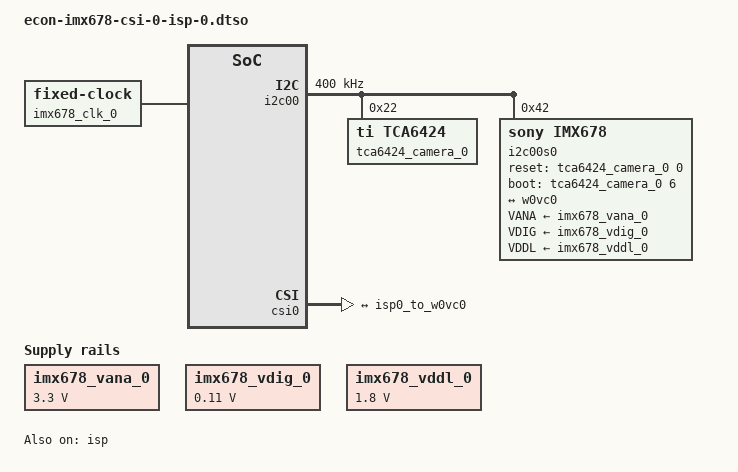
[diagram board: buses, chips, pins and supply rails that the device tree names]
// SPDX-License-Identifier: (GPL-2.0+ OR MIT)
/*
 * Copyright (c) 2024 SiMa ai
 */

/dts-v1/;
/plugin/;

/ {
	fragment@10 {
		target-path = "/"; /* Root node of the base tree */
		__overlay__ {
			imx678_vana_0: csi0_fixedregulator@0 {
				compatible = "regulator-fixed";
				regulator-name = "imx678_vana_0";
				regulator-min-microvolt = <3300000>;
				regulator-max-microvolt = <3300000>;
				enable-active-high;
				startup-delay-us = <300000>;
				regulator-always-on;
			};
			imx678_vdig_0: csi0_fixedregulator@1 {
				compatible = "regulator-fixed";
				regulator-name = "imx678_vdig_0";
				regulator-min-microvolt = <110000>;
				regulator-max-microvolt = <110000>;
				regulator-always-on;
			};
			imx678_vddl_0: csi0_fixedregulator@2 {
				compatible = "regulator-fixed";
				regulator-name = "imx678_vddl_0";
				regulator-min-microvolt = <1800000>;
				regulator-max-microvolt = <1800000>;
				regulator-always-on;
			};
			imx678_clk_0: csi0_camera-clk {
				compatible = "fixed-clock";
				#clock-cells = <0>;
				clock-frequency = <24000000>;
			};
		};
	};
};

&i2c00 {
	status = "okay";
	clock-frequency = <400000>;
	#address-cells = <1>;
	#size-cells = <0>;
	tca6424_camera_0: tca6424@22 {
		compatible = "ti,tca6424";
		gpio-controller;
		#gpio-cells = <2>;
		reg = <0x22>;
		status = "okay";
	};
	i2c00s0: sensor@42 {
		compatible = "sony,imx678";
		reg = <0x42>;
		clocks = <&imx678_clk_0>;
		clock-names = "xclk";
		VANA-supply = <&imx678_vana_0>;
		VDIG-supply = <&imx678_vdig_0>;
		VDDL-supply = <&imx678_vddl_0>;
		reset-gpios = <&tca6424_camera_0 0 0>;
		boot-gpios = <&tca6424_camera_0 6 0>;
		camera_mipi_lanes = <4>;
		cam_fw_name = "imx678_cam_fw.bin";
		i2c00p0: port@1 {
			camera_0: endpoint@0 {
				remote-endpoint = <&w0vc0>;
				data-lanes = <1 2 3 4>;
				clock-lanes = <0>;
				clock-continuous;
				link-frequencies = /bits/ 64 <450000000>;
			};
		};
	};
};

&mipi_dphy_rx0 {
	snps,dphy-frequency = <450000000>;
};

&axi_vdma_vis0 {
	status = "okay";
};

&csi0 {
	status = "okay";
	isp-connected = <1>;
	csi0p0: port@1 {
		reg = <1>;
		w0vc0_to_isp0: endpoint@1 {
			remote-endpoint = <&isp0_to_w0vc0>;
			data-lanes = <1 2 3 4>;
			clock-lanes = <1>;
			clock-continuous;
			link-frequencies = /bits/ 64 <450000000>;
		};
	};
};

&isp {
	status = "okay";
	ports {
		#address-cells = <1>;
		#size-cells = <0>;
		isp0p0: port@0 {
			reg = <0>;
			isp0_to_w0vc0: endpoint@0 {
				remote-endpoint = <&w0vc0_to_isp0>;
			};
			w0vc0: endpoint@1 {
				remote-endpoint = <&camera_0>;
				sensor-id = <2>;
			};
		};
	};
};
